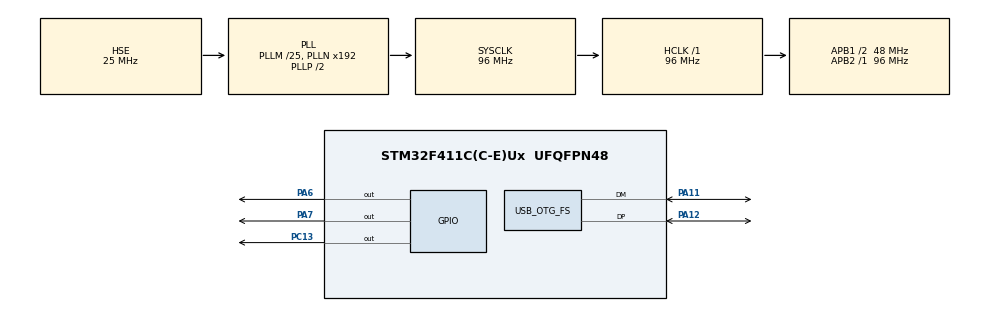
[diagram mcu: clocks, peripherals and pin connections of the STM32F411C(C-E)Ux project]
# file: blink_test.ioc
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FREERTOS.Tasks01=BlueLED,0,128,StartBlueLED,Default,NULL,Dynamic,NULL,NULL;RedLED,-3,128,StartRedLED,Default,NULL,Dynamic,NULL,NULL;GreenLED,-3,128,StartGreenLED,Default,NULL,Dynamic,NULL,NULL
FREERTOS.configUSE_NEWLIB_REENTRANT=1
Mcu.Family=STM32F4
Mcu.Name=STM32F411C(C-E)Ux
Mcu.Package=UFQFPN48
NVIC.OTG_FS_IRQn=true\:5\:0\:false\:false\:true\:true\:false\:true\:true
NVIC.PriorityGroup=NVIC_PRIORITYGROUP_4
NVIC.TIM1_UP_TIM10_IRQn=true\:15\:0\:false\:false\:true\:false\:false\:true\:true
NVIC.TimeBase=TIM1_UP_TIM10_IRQn
NVIC.TimeBaseIP=TIM1
PA11.Mode=Device_Only
PA11.Signal=USB_OTG_FS_DM
PA12.Mode=Device_Only
PA12.Signal=USB_OTG_FS_DP
PA6.Signal=GPIO_Output
PA7.Signal=GPIO_Output
PC13-ANTI_TAMP.Signal=GPIO_Output
PH0\ -\ OSC_IN.Mode=HSE-External-Oscillator
PH0\ -\ OSC_IN.Signal=RCC_OSC_IN
PH1\ -\ OSC_OUT.Mode=HSE-External-Oscillator
PH1\ -\ OSC_OUT.Signal=RCC_OSC_OUT
ProjectManager.HeapSize=0x200
ProjectManager.StackSize=0x400
ProjectManager.TargetToolchain=STM32CubeIDE
RCC.48MHZClocksFreq_Value=48000000
RCC.AHBFreq_Value=96000000
RCC.APB1CLKDivider=RCC_HCLK_DIV2
RCC.APB1Freq_Value=48000000
RCC.APB1TimFreq_Value=96000000
RCC.APB2Freq_Value=96000000
RCC.APB2TimFreq_Value=96000000
RCC.CortexFreq_Value=96000000
RCC.HCLKFreq_Value=96000000
RCC.HSE_VALUE=25000000
RCC.HSI_VALUE=16000000
RCC.LSE_VALUE=32768
RCC.PLLM=25
RCC.SYSCLKFreq_VALUE=96000000
RCC.SYSCLKSource=RCC_SYSCLKSOURCE_PLLCLK
RCC.VCOOutputFreq_Value=192000000
USB_DEVICE.CLASS_NAME_FS=CDC
USB_DEVICE.VirtualMode=Cdc
USB_DEVICE.VirtualModeFS=Cdc_FS
USB_OTG_FS.VirtualMode=Device_Only
VP_FREERTOS_VS_CMSIS_V1.Mode=CMSIS_V1
VP_SYS_VS_tim1.Mode=TIM1
VP_USB_DEVICE_VS_USB_DEVICE_CDC_FS.Mode=CDC_FS
board=custom

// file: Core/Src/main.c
/* USER CODE BEGIN Header */
/**
  ******************************************************************************
  * @file           : main.c
  * @brief          : Main program body
  ******************************************************************************
  * @attention
  *
  * Copyright (c) 2023 STMicroelectronics.
  * All rights reserved.
  *
  * This software is licensed under terms that can be found in the LICENSE file
  * in the root directory of this software component.
  * If no LICENSE file comes with this software, it is provided AS-IS.
  *
  ******************************************************************************
  */
/* USER CODE END Header */
#include "main.h"
#include "cmsis_os.h"
#include "usb_device.h"

osThreadId BlueLEDHandle;
osThreadId RedLEDHandle;
osThreadId GreenLEDHandle;

void SystemClock_Config(void);
static void MX_GPIO_Init(void);
void StartBlueLED(void const * argument);
void StartRedLED(void const * argument);
void StartGreenLED(void const * argument);

/* USER CODE BEGIN PFP */
extern uint8_t CDC_Transmit_FS(uint8_t* Buf, uint16_t Len);
/* USER CODE END PFP */

int main(void)
{

  /* MCU Configuration--------------------------------------------------------*/

  /* Reset of all peripherals, Initializes the Flash interface and the Systick. */
  HAL_Init();

  /* Configure the system clock */
  SystemClock_Config();

  /* Initialize all configured peripherals */
  MX_GPIO_Init();

  /* Create the thread(s) */
  /* definition and creation of BlueLED */
  osThreadDef(BlueLED, StartBlueLED, osPriorityNormal, 0, 128);
  BlueLEDHandle = osThreadCreate(osThread(BlueLED), NULL);

  /* definition and creation of RedLED */
  osThreadDef(RedLED, StartRedLED, osPriorityIdle, 0, 128);
  RedLEDHandle = osThreadCreate(osThread(RedLED), NULL);

  /* definition and creation of GreenLED */
  osThreadDef(GreenLED, StartGreenLED, osPriorityIdle, 0, 128);
  GreenLEDHandle = osThreadCreate(osThread(GreenLED), NULL);

  /* Start scheduler */
  osKernelStart();

  /* We should never get here as control is now taken by the scheduler */
  /* Infinite loop */
  while (1)
  {

  }
}

void SystemClock_Config(void)
{
  RCC_OscInitTypeDef RCC_OscInitStruct = {0};
  RCC_ClkInitTypeDef RCC_ClkInitStruct = {0};

  /** Configure the main internal regulator output voltage
  */
  __HAL_RCC_PWR_CLK_ENABLE();
  __HAL_PWR_VOLTAGESCALING_CONFIG(PWR_REGULATOR_VOLTAGE_SCALE1);

  /** Initializes the RCC Oscillators according to the specified parameters
  * in the RCC_OscInitTypeDef structure.
  */
  RCC_OscInitStruct.OscillatorType = RCC_OSCILLATORTYPE_HSE;
  RCC_OscInitStruct.HSEState = RCC_HSE_ON;
  RCC_OscInitStruct.PLL.PLLState = RCC_PLL_ON;
  RCC_OscInitStruct.PLL.PLLSource = RCC_PLLSOURCE_HSE;
  RCC_OscInitStruct.PLL.PLLM = 25;
  RCC_OscInitStruct.PLL.PLLN = 192;
  RCC_OscInitStruct.PLL.PLLP = RCC_PLLP_DIV2;
  RCC_OscInitStruct.PLL.PLLQ = 4;
  if (HAL_RCC_OscConfig(&RCC_OscInitStruct) != HAL_OK)
  {
    Error_Handler();
  }

  /** Initializes the CPU, AHB and APB buses clocks
  */
  RCC_ClkInitStruct.ClockType = RCC_CLOCKTYPE_HCLK|RCC_CLOCKTYPE_SYSCLK
                              |RCC_CLOCKTYPE_PCLK1|RCC_CLOCKTYPE_PCLK2;
  RCC_ClkInitStruct.SYSCLKSource = RCC_SYSCLKSOURCE_PLLCLK;
  RCC_ClkInitStruct.AHBCLKDivider = RCC_SYSCLK_DIV1;
  RCC_ClkInitStruct.APB1CLKDivider = RCC_HCLK_DIV2;
  RCC_ClkInitStruct.APB2CLKDivider = RCC_HCLK_DIV1;

  if (HAL_RCC_ClockConfig(&RCC_ClkInitStruct, FLASH_LATENCY_3) != HAL_OK)
  {
    Error_Handler();
  }
}

static void MX_GPIO_Init(void)
{
  GPIO_InitTypeDef GPIO_InitStruct = {0};

  /* GPIO Ports Clock Enable */
  __HAL_RCC_GPIOC_CLK_ENABLE();
  __HAL_RCC_GPIOH_CLK_ENABLE();
  __HAL_RCC_GPIOA_CLK_ENABLE();

  /*Configure GPIO pin Output Level */
  HAL_GPIO_WritePin(GPIOC, GPIO_PIN_13, GPIO_PIN_RESET);

  /*Configure GPIO pin Output Level */
  HAL_GPIO_WritePin(GPIOA, GPIO_PIN_6|GPIO_PIN_7, GPIO_PIN_RESET);

  /*Configure GPIO pin : PC13 */
  GPIO_InitStruct.Pin = GPIO_PIN_13;
  GPIO_InitStruct.Mode = GPIO_MODE_OUTPUT_PP;
  GPIO_InitStruct.Pull = GPIO_NOPULL;
  GPIO_InitStruct.Speed = GPIO_SPEED_FREQ_LOW;
  HAL_GPIO_Init(GPIOC, &GPIO_InitStruct);

  /*Configure GPIO pins : PA6 PA7 */
  GPIO_InitStruct.Pin = GPIO_PIN_6|GPIO_PIN_7;
  GPIO_InitStruct.Mode = GPIO_MODE_OUTPUT_PP;
  GPIO_InitStruct.Pull = GPIO_NOPULL;
  GPIO_InitStruct.Speed = GPIO_SPEED_FREQ_LOW;
  HAL_GPIO_Init(GPIOA, &GPIO_InitStruct);

}

void StartBlueLED(void const * argument)
{
  /* init code for USB_DEVICE */
  MX_USB_DEVICE_Init();
  /* USER CODE BEGIN 5 */
  /* Infinite loop */
	int blue_period_ms = 500;
	char buffer[100];
	sprintf(buffer, "%d The number isregewhrthrtwhwrthrwthjrthjriwuthjiruhsogirtuh\n", blue_period_ms);

  for(;;)
  {
	  HAL_GPIO_WritePin(GPIOC, GPIO_PIN_13, GPIO_PIN_SET);
	  CDC_Transmit_FS((uint8_t*)buffer, strlen(buffer));

	  osDelay(blue_period_ms);
	  HAL_GPIO_WritePin(GPIOC, GPIO_PIN_13, GPIO_PIN_RESET);
	  osDelay(blue_period_ms);
  }
  /* USER CODE END 5 */
}

void StartRedLED(void const * argument)
{
  /* USER CODE BEGIN StartRedLED */
  /* Infinite loop */
	int red_period_ms = 100;
  for(;;)
  {
	  HAL_GPIO_WritePin(GPIOA, GPIO_PIN_6, GPIO_PIN_SET);
	  osDelay(red_period_ms);
	  HAL_GPIO_WritePin(GPIOA, GPIO_PIN_6, GPIO_PIN_RESET);
	  osDelay(red_period_ms);
  }
  /* USER CODE END StartRedLED */
}

void StartGreenLED(void const * argument)
{
  /* USER CODE BEGIN StartGreenLED */
  /* Infinite loop */
	int green_period_ms = 50;
  for(;;)
  {
	  HAL_GPIO_WritePin(GPIOA, GPIO_PIN_7, GPIO_PIN_SET);
	  osDelay(green_period_ms);
	  HAL_GPIO_WritePin(GPIOA, GPIO_PIN_7, GPIO_PIN_RESET);
	  osDelay(green_period_ms);
  }
  /* USER CODE END StartGreenLED */
}

void HAL_TIM_PeriodElapsedCallback(TIM_HandleTypeDef *htim)
{
  if (htim->Instance == TIM1) {
    HAL_IncTick();
  }
}

void Error_Handler(void)
{
  __disable_irq();
  while (1)
  {
  }
}
